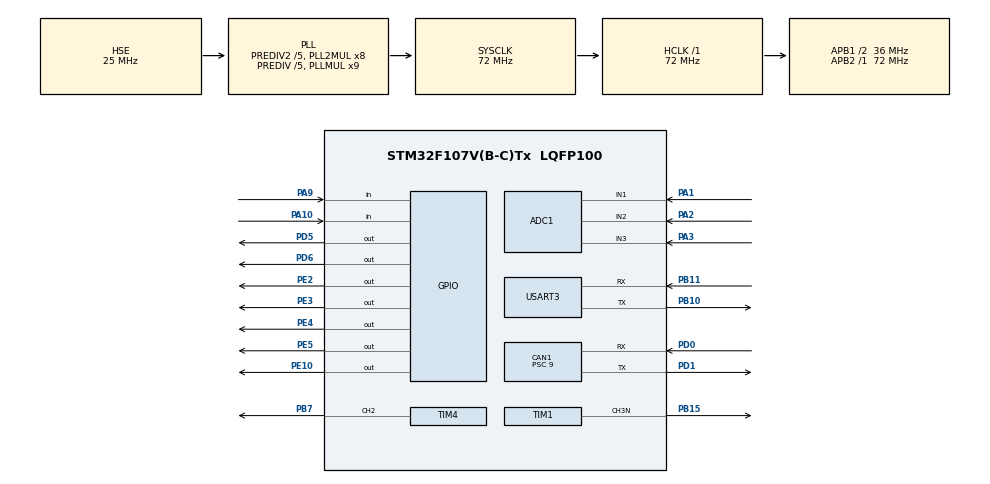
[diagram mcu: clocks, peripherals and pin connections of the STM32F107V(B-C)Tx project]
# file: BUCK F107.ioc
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Mcu.Family=STM32F1
NVIC.USART3_IRQn=true\:0\:0\:false\:false\:true\:true\:true
Dma.TIM2_UP.0.PeriphDataAlignment=DMA_PDATAALIGN_HALFWORD
NVIC.ADC1_2_IRQn=true\:0\:0\:false\:false\:true\:true\:true
VP_TIM5_VS_ClockSourceINT.Mode=Internal
NVIC.CAN1_RX1_IRQn=true\:0\:0\:false\:false\:true\:true\:true
Dma.TIM2_UP.0.Direction=DMA_MEMORY_TO_PERIPH
PB10.Mode=Asynchronous
ADC1.ContinuousConvMode=ENABLE
RCC.Prediv2=RCC_HSE_PREDIV2_DIV5
TIM4.OC4Preload=ENABLE
SH.ADCx_IN2.0=ADC1_IN2,IN2
NVIC.TIM1_UP_IRQn=true\:0\:0\:false\:false\:true\:true\:true
Dma.TIM1_CH3.1.PeriphDataAlignment=DMA_PDATAALIGN_WORD
PB11.Signal=USART3_RX
ADC1.SamplingTime-12\#ChannelRegularConversion=ADC_SAMPLETIME_1CYCLE_5
PB15.Signal=TIM1_CH3N
TIM4.TIM_MasterOutputTrigger=TIM_TRGO_UPDATE
RCC.SYSCLKSource=RCC_SYSCLKSOURCE_PLLCLK
ProjectManager.StackSize=0x400
VP_TIM1_VS_no_output1.Mode=Output Compare1 No Output
Dma.TIM2_UP.0.MemInc=DMA_MINC_ENABLE
Dma.TIM2_UP.0.MemDataAlignment=DMA_MDATAALIGN_HALFWORD
Dma.TIM1_CH3.1.Instance=DMA1_Channel6
Dma.TIM2_UP.0.Mode=DMA_CIRCULAR
TIM1.Prescaler=0
NVIC.CAN1_TX_IRQn=true\:0\:0\:false\:false\:true\:true\:true
RCC.HCLKFreq_Value=72000000
SH.ADCx_IN3.0=ADC1_IN3,IN3
RCC.APB2TimFreq_Value=72000000
ADC1.InjNumberOfConversion=3
Dma.TIM1_CH3.1.Mode=DMA_CIRCULAR
PD0.Signal=CAN1_RX
TIM1.OC1Preload=ENABLE
PE5.Signal=GPIO_Output
OSC_OUT.Mode=HSE-External-Oscillator
OSC_OUT.Signal=RCC_OSC_OUT
RCC.AHBFreq_Value=72000000
ADC1.ExternalTrigInjecConv=ADC_INJECTED_SOFTWARE_START
RCC.HSE_VALUE=25000000
Dma.TIM2_UP.0.Priority=DMA_PRIORITY_LOW
PB3.Mode=JTAG_4_pins
PA15.Mode=JTAG_4_pins
RCC.PLLMUL=RCC_PLL_MUL9
Dma.ADC1.2.MemDataAlignment=DMA_MDATAALIGN_WORD
PC14-OSC32_IN.Mode=LSE-External-Oscillator
PA14.Mode=JTAG_4_pins
NVIC.TIM2_IRQn=true\:0\:0\:false\:false\:true\:true\:true
Dma.ADC1.2.Direction=DMA_PERIPH_TO_MEMORY
SH.S_TIM4_CH2.0=TIM4_CH2,PWM Generation2 CH2
PE2.Signal=GPIO_Output
PB7.Signal=S_TIM4_CH2
TIM4.Period=35000
PE10.Signal=GPIO_Output
PE4.Signal=GPIO_Output
VP_TIM1_VS_ClockSourceINT.Mode=Internal
RCC.Prediv1Source=RCC_PREDIV1_SOURCE_PLL2
CAN1.Prescaler=9
Mcu.Package=LQFP100
TIM2.Prescaler=35
ADC1.EnableInjectedConversion=DISABLE
TIM1.OCFastMode_PWM-PWM\ Generation3\ CH3N=TIM_OCFAST_DISABLE
ADC1.SamplingTime-13\#ChannelRegularConversion=ADC_SAMPLETIME_1CYCLE_5
PA10.Signal=GPIO_Input
PA15.Signal=SYS_JTDI
SH.ADCx_IN1.0=ADC1_IN1,IN1
Dma.Request2=ADC1
Dma.Request1=TIM1_CH3
RCC.APB1TimFreq_Value=72000000
Dma.TIM1_CH3.1.MemInc=DMA_MINC_ENABLE
TIM1.Period=35000
PD6.Signal=GPIO_Output
Dma.Request0=TIM2_UP
CAN1.CalculateTimeBit=4000.00
Dma.TIM1_CH3.1.PeriphInc=DMA_PINC_DISABLE
Dma.ADC1.2.Mode=DMA_NORMAL
CAN1.CalculateTimeQuantum=250.0
PA3.Signal=ADCx_IN3
RCC.PLLSourceVirtual=RCC_PLLSOURCE_HSE
PC15-OSC32_OUT.Mode=LSE-External-Oscillator
NVIC.DMA1_Channel6_IRQn=true\:0\:0\:false\:false\:true\:false\:true
Dma.ADC1.2.PeriphDataAlignment=DMA_PDATAALIGN_WORD
TIM1.Channel-Output\ Compare1\ No\ Output=TIM_CHANNEL_1
TIM1.OC3Preload_PWM=ENABLE
CAN1.CalculateBaudRate=250000
ADC1.DiscontinuousConvMode=DISABLE
TIM1.OCMode_1=TIM_OCMODE_ACTIVE
PD1.Signal=CAN1_TX
PD5.Signal=GPIO_Output
TIM4.TIM_MasterSlaveMode=TIM_MASTERSLAVEMODE_ENABLE
ADC1.Channel-13\#ChannelRegularConversion=ADC_CHANNEL_3
RCC.APB1CLKDivider=RCC_HCLK_DIV2
PC14-OSC32_IN.Signal=RCC_OSC32_IN
RCC.ADCPresc=RCC_ADCPCLK2_DIV6
PA13.Signal=SYS_JTMS-SWDIO
ADC1.Rank-13\#ChannelRegularConversion=3
Dma.ADC1.2.MemInc=DMA_MINC_ENABLE
CAN1.BS2=CAN_BS2_2TQ
PB11.Mode=Asynchronous
CAN1.BS1=CAN_BS1_13TQ
NVIC.DMA1_Channel2_IRQn=true\:0\:0\:false\:false\:true\:false\:true
ProjectManager.TargetToolchain=STM32CubeIDE
PA9.Signal=GPIO_Input
OSC_IN.Signal=RCC_OSC_IN
RCC.USBFreq_Value=48000000
TIM4.Prescaler=0
TIM1.Channel-PWM\ Generation3\ CH3N=TIM_CHANNEL_3
PC15-OSC32_OUT.Signal=RCC_OSC32_OUT
PA1.Signal=ADCx_IN1
PB10.Signal=USART3_TX
TIM1.Pulse-PWM\ Generation3\ CH3N=3500
VP_TIM4_VS_no_output4.Mode=Output Compare4 No Output
NVIC.TIM1_TRG_COM_IRQn=true\:0\:0\:false\:false\:true\:true\:true
board=custom
ADC1.Rank-12\#ChannelRegularConversion=2
TIM1.OCNIdleState_3=TIM_OCNIDLESTATE_SET
PB15.Mode=PWM Generation3 CH3N
PD1.Mode=CAN_Activate
ADC1.EnableAnalogWatchDog=false
TIM1.TIM_MasterOutputTrigger=TIM_TRGO_OC1REF
TIM4.Channel-PWM\ Generation2\ CH2=TIM_CHANNEL_2
ADC1.Channel-12\#ChannelRegularConversion=ADC_CHANNEL_2
RCC.APB2Freq_Value=72000000
TIM1.OCNPolarity_3=TIM_OCNPOLARITY_LOW
VP_TIM2_VS_ClockSourceINT.Mode=Internal
TIM2.Channel-PWM\ Generation3\ CH3=TIM_CHANNEL_3
Dma.TIM1_CH3.1.Priority=DMA_PRIORITY_LOW
TIM2.Period=100
ADC1.Rank-9\#ChannelRegularConversion=1
ADC1.NbrOfConversion=3
PA13.Mode=JTAG_4_pins
Mcu.Name=STM32F107V(B-C)Tx
PD0.Mode=CAN_Activate
PA2.Signal=ADCx_IN2
Dma.ADC1.2.Instance=DMA1_Channel1
ADC1.Channel-9\#ChannelRegularConversion=ADC_CHANNEL_1
ADC1.ExternalTrigConv=ADC_SOFTWARE_START
NVIC.TIM1_CC_IRQn=true\:0\:0\:false\:false\:true\:true\:true
PB3.Signal=SYS_JTDO
RCC.SYSCLKFreq_VALUE=72000000
Dma.ADC1.2.Priority=DMA_PRIORITY_LOW
ADC1.master=1
Dma.TIM2_UP.0.PeriphInc=DMA_PINC_DISABLE
Dma.ADC1.2.PeriphInc=DMA_PINC_DISABLE
TIM5.Prescaler=35
OSC_IN.Mode=HSE-External-Oscillator
USART3.VirtualMode=VM_ASYNC
RCC.HSEDivPLL=RCC_HSE_PREDIV_DIV5
PA14.Signal=SYS_JTCK-SWCLK
ProjectManager.HeapSize=0x200
VP_TIM4_VS_ClockSourceINT.Mode=Internal
NVIC.PriorityGroup=NVIC_PRIORITYGROUP_4
ADC1.NbrOfConversionFlag=1
ADC1.EnableRegularConversion=ENABLE
PE3.Signal=GPIO_Output
Dma.TIM1_CH3.1.MemDataAlignment=DMA_MDATAALIGN_WORD
ADC1.SamplingTime-9\#ChannelRegularConversion=ADC_SAMPLETIME_1CYCLE_5
NVIC.DMA1_Channel1_IRQn=true\:0\:0\:false\:false\:true\:false\:true
NVIC.TIM4_IRQn=true\:1\:0\:true\:false\:true\:true\:true
RCC.APB1Freq_Value=36000000
TIM4.Channel-Output\ Compare4\ No\ Output=TIM_CHANNEL_4
Dma.TIM1_CH3.1.Direction=DMA_MEMORY_TO_PERIPH
NVIC.CAN1_RX0_IRQn=true\:0\:0\:false\:false\:true\:true\:true
TIM1.TIM_MasterSlaveMode=TIM_MASTERSLAVEMODE_DISABLE
Dma.TIM2_UP.0.Instance=DMA1_Channel2

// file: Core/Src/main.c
/* USER CODE BEGIN Header */
/**
  ******************************************************************************
  * @file           : main.c
  * @brief          : Main program body
  ******************************************************************************
  * @attention
  *
  * <h2><center>&copy; Copyright (c) 2021 STMicroelectronics.
  * All rights reserved.</center></h2>
  *
  * This software component is licensed by ST under BSD 3-Clause license,
  * the "License"; You may not use this file except in compliance with the
  * License. You may obtain a copy of the License at:
  *                        opensource.org/licenses/BSD-3-Clause
  *
  ******************************************************************************
  */
/* USER CODE END Header */
#include "main.h"
#include "adc.h"
#include "can.h"
#include "dma.h"
#include "tim.h"
#include "usart.h"
#include "gpio.h"

/* USER CODE BEGIN Includes */
#include "BUCK_Application_Conf.h"
#include "DPC_Timeout.h"
#include "Buck_Control.h"

/* USER CODE END Includes */

/* USER CODE BEGIN PD */
#define LoWord(param) ((unsigned *)&param)[0]
#define HiWord(param) ((unsigned *)&param)[1]

#define Lowest(param) ((uint8_t *)&param)[0]
#define Lo(param) 	  ((uint8_t *)&param)[1]
#define Hi(param) 	  ((uint8_t *)&param)[2]
#define Highest(param)((uint8_t *)&param)[3]

#define LED_H2 GPIO_PIN_10
#define LED_H2_PORT GPIOE

#define LED_VD3 GPIO_PIN_2
#define LED_VD3_PORT GPIOE
/* USER CODE END PD */

/* USER CODE BEGIN PV */
BUCK_PWM_Source_Struct BUCK_PWM_SRC;
BUCK_OC_Source_Struct BUCK_OC_SRC;

PI_STRUCT_t pPI_VDC_CTRL;
PI_STRUCT_t pPI_VDC_CTRL_BURST;

CAN_Messages_Struct CAN_Messages;
uint8_t               TxData[8];
uint8_t               RxData[8];
uint32_t              TxMailbox;

TO_RET_STATE TO_State;
uint16_t StartUp;
volatile FlagStatus Calc_Start;

volatile float Service_Data[10][500];
uint32_t Service_step;
uint32_t Service_step2;
uint16_t j;
FlagStatus DMA_FLAG;
uint32_t ADC_Ch_Selected;

float PID_Result;
float PID_Result_V;
float PID_Result_I;
float PWM;
uint16_t Duty_To_Send;
uint16_t Tim_Counter;

uint32_t p_ADC1_Data[ADC1_CHs];                                 /*!< */

ADC_Conf_TypeDef ADC_Conf;
Cooked_ADC_Struct VDC_ADC_IN_PHY;

PID_Control_Struct PID_CONF_Burst;
PID_Control_Struct PID_CONF_StartUp;

//Option 1
PID_Control_Struct Current_PID_CONF;
PID_Control_Struct Voltage_PID_CONF;

//Option 2
PID_Control_Struct UDC_LIMIT_PID;
PID_Control_Struct IDC_LIMIT_PID;

extern RAW_ADC_Struct Raw_ADC;
extern RAW_ADC_Struct Raw_DMA;

/* USER CODE END PV */

void SystemClock_Config(void);
/* USER CODE BEGIN PFP */
void ADC_Config_Ch( uint32_t Channel);
/* USER CODE END PFP */

int main(void)
{

  /* MCU Configuration--------------------------------------------------------*/

  /* Reset of all peripherals, Initializes the Flash interface and the Systick. */
  HAL_Init();

  /* Configure the system clock */
  SystemClock_Config();

  /* Initialize all configured peripherals */
  MX_GPIO_Init();
  MX_DMA_Init();
  MX_CAN1_Init();
  MX_TIM4_Init();
  MX_TIM2_Init();
  MX_ADC1_Init();
  MX_TIM1_Init();
  MX_USART3_UART_Init();
  MX_TIM5_Init();
  /* USER CODE BEGIN 2 */

  HAL_ADCEx_Calibration_Start(&hadc1);
  HAL_Delay(500);
//  HAL_TIM_MspPostInit(&htim1);
//  HAL_TIM_MspPostInit(&htim2);
//  HAL_TIM_MspPostInit(&htim4);

  DPC_TO_Init();

  //Buck_PID_Init(&PID_CONF_StartUp, BUCK_PID_K_P,BUCK_PID_K_I,BUCK_PID_K_D, BUCK_Math_Frequency, BUCK_PID_W_F, BUCK_PID_SAT_UP_BURST, BUCK_PID_SAT_DOWN_BURST, BUCK_PID_HIST, BUCK_PID_BASE_VAL, BUCK_INT_SAT_UP, BUCK_INT_SAT_DOWN, BUCK_PID_ANTIWINDUP);

  Buck_PID_Init(&Voltage_PID_CONF, V_PID_K_P,V_PID_K_I,V_PID_K_D, BUCK_Math_Frequency, BUCK_PID_W_F, V_PID_SAT_UP, V_PID_SAT_DOWN, V_PID_HIST, V_PID_RESOLUTION,V_PID_INT_SAT_UP,V_PID_INT_SAT_DOWN, V_PID_ANTIWINDUP, V_PID_BASE_VAL);
  Buck_PID_Init(&Current_PID_CONF, I_PID_K_P,I_PID_K_I,I_PID_K_D, BUCK_Math_Frequency, BUCK_PID_W_F, I_PID_SAT_UP, I_PID_SAT_DOWN, I_PID_HIST, I_PID_RESOLUTION, I_PID_INT_SAT_UP, I_PID_INT_SAT_DOWN, I_PID_ANTIWINDUP, I_PID_BASE_VAL);

  Buck_PID_Init(&UDC_LIMIT_PID, V_LIM_PID_K_P,V_LIM_PID_K_I,V_LIM_PID_K_D, BUCK_Math_Frequency, V_LIM_PID_W_F, V_LIM_PID_SAT_UP, V_LIM_PID_SAT_DOWN, V_LIM_PID_HIST, V_LIM_PID_RESOLUTION, V_LIM_INT_SAT_UP, V_LIM_INT_SAT_DOWN, V_LIM_PID_ANTIWINDUP, V_LIM_PID_BASE_VAL);
  Buck_PID_Init(&IDC_LIMIT_PID, I_LIM_PID_K_P,I_LIM_PID_K_I,I_LIM_PID_K_D, BUCK_Math_Frequency, I_LIM_PID_W_F, I_LIM_PID_SAT_UP, I_LIM_PID_SAT_DOWN, I_LIM_PID_HIST, I_LIM_PID_RESOLUTION, I_LIM_INT_SAT_UP, I_LIM_INT_SAT_DOWN, I_LIM_PID_ANTIWINDUP, I_LIM_PID_BASE_VAL);

  Buck_PID_Init(&PID_CONF_StartUp, STUP_PID_K_P,STUP_PID_K_I,STUP_PID_K_D, BUCK_Math_Frequency, STUP_PID_W_F, STUP_PID_SAT_UP, STUP_PID_SAT_DOWN, STUP_PID_HIST, STUP_PID_RESOLUTION, STUP_INT_SAT_UP, STUP_INT_SAT_DOWN, STUP_PID_ANTIWINDUP, STUP_PID_BASE_VAL);

  DPC_PID_Init(&pPI_VDC_CTRL,DPC_VCTRL_KP,DPC_VCTRL_KI,DPC_PI_VDC_TS,DPC_VCTRL_PI_sat_up,DPC_VCTRL_PI_sat_down,DPC_VCTRL_PI_SAT_EN,DPC_VCTRL_PI_AW_EN,DPC_VCTRL_PI_AWTG);
  DPC_PID_Init(&pPI_VDC_CTRL_BURST,DPC_VCTRL_KP,DPC_VCTRL_KI,DPC_PI_VDC_TS,DPC_VCTRL_BURST_PI_sat_up,DPC_VCTRL_PI_sat_down,DPC_VCTRL_PI_SAT_EN,DPC_VCTRL_PI_AW_EN,DPC_VCTRL_PI_AWTG);

  Buck_Tim_PWM_Init(&BUCK_Tim1, BUCK_SW_Frequency);
  Buck_Tim_PWM_Init(&BUCK_Tim4, BUCK_SW_Frequency);
  Buck_Tim_Init(&BUCK_Tim2, BUCK_Math_Frequency);
  Buck_Tim_Init(&BUCK_Tim5, BUCK_TO_Timer_Frequency);

  BUCK_ADC_Init(&ADC_Conf,G_VAC,B_VAC,G_IAC,B_IAC,G_VDC,B_VDC,G_IDC,B_IDC);
  //CAN_Start_Setup();
  HAL_TIMEx_PWMN_Start_DMA(&BUCK_Tim1, BUCK_Tim1_PWM_CH, &BUCK_PWM_SRC.PWM_A, 1);

  HAL_TIM_Base_Start_IT(&htim1);
  HAL_TIM_Base_Start_IT(&htim5);
  HAL_TIM_Base_Start_IT(&htim2);
  HAL_TIM_Base_Start_IT(&htim4);
  HAL_TIM_OC_Start_IT(&htim1, TIM_CHANNEL_1);
  ADC_Ch_Selected=1;

  /* USER CODE END 2 */

  /* Infinite loop */
  while (1)
  {

    /* USER CODE BEGIN 3 */
	  if(Calc_Start==SET){
		  DATA_Processing();
		  ADC_MA_VAL_Collection();
		  ADC2Phy_VDC_ProcessData(&ADC_Conf,(RAW_ADC_Struct*)Read_Volt_DC(), &VDC_ADC_IN_PHY);
		  ADC2Phy_IDC_ProcessData(&ADC_Conf,(RAW_ADC_Struct*)Read_Volt_DC(), &VDC_ADC_IN_PHY);

		  	if (((float)VDC_ADC_IN_PHY.Vdc) > BUCK_VDC_REF_LOW_REF){
		  		StartUp=1;
		  	}
		  	else if (((float)VDC_ADC_IN_PHY.Vdc) < 20){
		  		StartUp=0;
		  		PID_CONF_StartUp.resetPI=SET;
		  	}
		  	//StartUp=1;

			if (StartUp==0){
				Voltage_PID_CONF.resetPI = SET;
				Current_PID_CONF.resetPI = SET;
				UDC_LIMIT_PID.resetPI = SET;
				IDC_LIMIT_PID.resetPI = SET;
				PID_Result_V = PID_Control(BUCK_VDC_REF, VDC_ADC_IN_PHY.Vdc, &PID_CONF_StartUp);
				PWM = PID_Result_V/BUCK_VAC_REF;
				IDC_LIMIT_PID.resetPI = SET;
				UDC_LIMIT_PID.resetPI = SET;
			}
			else if (StartUp==1){
				Voltage_PID_CONF.Antiwindup_Switch = SET;
				Current_PID_CONF.Antiwindup_Switch = RESET;
				//PID_Result_V = Buck_Control(&Voltage_PID_CONF,&Current_PID_CONF,BUCK_VDC_REF, (float)(VDC_ADC_IN_PHY.Vdc/* - PID_Result*/), VDC_ADC_IN_PHY.Idc);
				PID_Result_V = PID_Control(BUCK_VDC_REF, VDC_ADC_IN_PHY.Vdc, &UDC_LIMIT_PID);
				PID_Result_I = Current_Control(BUCK_IDC_LIM, VDC_ADC_IN_PHY.Idc, &IDC_LIMIT_PID);
				//PID_Result_I = BUCK_VAC_REF;

				if (PID_Result_V<=PID_Result_I){
					PWM = PID_Result_V/BUCK_VAC_REF;

				}
				else if (PID_Result_V>PID_Result_I){
					PWM = PID_Result_I/BUCK_VAC_REF;
					//UDC_LIMIT_PID.resetPI = SET;
				}

				//PWM = PID_Result_V/BUCK_VAC_REF;
				PID_CONF_StartUp.resetPI = SET;

				//PWM=0.7;
			}
			//PWM=0.8;
			BUCK_PWM_Processing(PWM, &BUCK_Tim1, &BUCK_PWM_SRC);

			if (VDC_ADC_IN_PHY.Vdc>=BUCK_VDC_OV){
				HAL_TIMEx_PWMN_Stop_DMA(&BUCK_Tim1, BUCK_Tim1_PWM_CH);
			}
			else if (VDC_ADC_IN_PHY.Vdc <= BUCK_VDC_REF_LOW_REF){
				HAL_TIMEx_PWMN_Start_DMA(&BUCK_Tim1, BUCK_Tim1_PWM_CH, &BUCK_PWM_SRC.PWM_A, 1);
			}

			Service_Data[0][Service_step] = (float)VDC_ADC_IN_PHY.Vdc;
			Service_Data[1][Service_step] = (float)VDC_ADC_IN_PHY.Idc;
			Service_Data[2][Service_step] = (float)(PID_Result_V);
			Service_Data[3][Service_step] = (float)(PID_Result_I);
	  		Service_Data[4][Service_step] = (float)(PID_Result_V);

//	  		Service_Data[4][Service_step] = (float)(PID_CONF.Ud_previous*100);
			//Service_Data[1][Service_step] = (float)VDC_ADC_IN_PHY.Idc;

			if (Service_step==499){
	  //			HAL_TIM_PWM_Stop_DMA(&BUCK_Tim4, BUCK_Tim4_PWM_CH);
				Service_step=0;
				Service_step2--;

			}
			else {
					Service_step++;
		//			HAL_TIMEx_PWMN_Start_DMA(&BUCK_Tim1, BUCK_Tim1_PWM_CH, &BUCK_PWM_SRC.PWM_A, 1);
					}
			Calc_Start = RESET;
			//HAL_ADC_Start_DMA(&BUCK_ADC1, p_ADC1_Data, ADC1_MA_PERIOD_RAW*ADC1_CHs);
	  }
	  //HAL_ADC_Start_DMA(&BUCK_ADC1, p_ADC1_Data, ADC1_CHs);

//	TO_State=DPC_TO_Check(RELAY_TO_CH);
//	if (TO_State==TO_OUT_TOOK){
//	  HAL_GPIO_TogglePin(LED_H2_PORT, LED_H2);
//	}
//	else if (TO_State==TO_OUT_OK){
//
//	}
//	else{
//	  DPC_TO_Set(RELAY_TO_CH, RELAY_TIMEOUT);
//	}
//
  }
  /* USER CODE END 3 */
}

void SystemClock_Config(void)
{
  RCC_OscInitTypeDef RCC_OscInitStruct = {0};
  RCC_ClkInitTypeDef RCC_ClkInitStruct = {0};
  RCC_PeriphCLKInitTypeDef PeriphClkInit = {0};

  /** Initializes the RCC Oscillators according to the specified parameters
  * in the RCC_OscInitTypeDef structure.
  */
  RCC_OscInitStruct.OscillatorType = RCC_OSCILLATORTYPE_HSE;
  RCC_OscInitStruct.HSEState = RCC_HSE_ON;
  RCC_OscInitStruct.HSEPredivValue = RCC_HSE_PREDIV_DIV5;
  RCC_OscInitStruct.HSIState = RCC_HSI_ON;
  RCC_OscInitStruct.Prediv1Source = RCC_PREDIV1_SOURCE_PLL2;
  RCC_OscInitStruct.PLL.PLLState = RCC_PLL_ON;
  RCC_OscInitStruct.PLL.PLLSource = RCC_PLLSOURCE_HSE;
  RCC_OscInitStruct.PLL.PLLMUL = RCC_PLL_MUL9;
  RCC_OscInitStruct.PLL2.PLL2State = RCC_PLL2_ON;
  RCC_OscInitStruct.PLL2.PLL2MUL = RCC_PLL2_MUL8;
  RCC_OscInitStruct.PLL2.HSEPrediv2Value = RCC_HSE_PREDIV2_DIV5;
  if (HAL_RCC_OscConfig(&RCC_OscInitStruct) != HAL_OK)
  {
    Error_Handler();
  }
  /** Initializes the CPU, AHB and APB buses clocks
  */
  RCC_ClkInitStruct.ClockType = RCC_CLOCKTYPE_HCLK|RCC_CLOCKTYPE_SYSCLK
                              |RCC_CLOCKTYPE_PCLK1|RCC_CLOCKTYPE_PCLK2;
  RCC_ClkInitStruct.SYSCLKSource = RCC_SYSCLKSOURCE_PLLCLK;
  RCC_ClkInitStruct.AHBCLKDivider = RCC_SYSCLK_DIV1;
  RCC_ClkInitStruct.APB1CLKDivider = RCC_HCLK_DIV2;
  RCC_ClkInitStruct.APB2CLKDivider = RCC_HCLK_DIV1;

  if (HAL_RCC_ClockConfig(&RCC_ClkInitStruct, FLASH_LATENCY_2) != HAL_OK)
  {
    Error_Handler();
  }
  PeriphClkInit.PeriphClockSelection = RCC_PERIPHCLK_ADC;
  PeriphClkInit.AdcClockSelection = RCC_ADCPCLK2_DIV6;
  if (HAL_RCCEx_PeriphCLKConfig(&PeriphClkInit) != HAL_OK)
  {
    Error_Handler();
  }
  /** Configure the Systick interrupt time
  */
  __HAL_RCC_PLLI2S_ENABLE();
}

/* USER CODE BEGIN 4 */

void HAL_TIM_PeriodElapsedCallback(TIM_HandleTypeDef *htim){
	if (htim ->Instance == TIM2){

		Calc_Start = SET;
		DMA_FLAG = SET;
//		HAL_TIM_OC_Start_IT(&htim1, TIM_CHANNEL_1);
		//HAL_ADC_Start_IT(&BUCK_ADC1);
	}
	else if (htim ->Instance == TIM5){
		TimeoutMng();

//		TO_State=DPC_TO_Check(1);
//		if (TO_State==TO_OUT_TOOK){
//			TxHeader.StdId = 0x321;
//			TxHeader.ExtId = 0x01;
//			TxHeader.RTR = CAN_RTR_DATA;
//			TxHeader.IDE = CAN_ID_STD;
//			TxHeader.DLC = 8;
//			TxHeader.TransmitGlobalTime = DISABLE;
//			Duty_To_Send = (uint16_t)(PID_Result*100);
//
//			TxData[0] = Lo(Duty_To_Send);
//			TxData[1] = Lowest(Duty_To_Send);
//
//			TxData[2] = Lo(VDC_ADC_IN_PHY.Vdc);
//			TxData[3] = Lowest(VDC_ADC_IN_PHY.Vdc);
//
//			TxMailbox = 1;
//			if (HAL_CAN_AddTxMessage(&hcan1, &TxHeader, TxData, &TxMailbox) != HAL_OK)
//			{
//				Error_Handler();
//			}
//			DPC_TO_Set(1, 100);
//
//		}
//		else if (TO_State==TO_OUT_OK){
//
//		}
//		else{
//			DPC_TO_Set(1, 100);
//		}
	}
	else if (htim ->Instance == TIM1){
		HAL_TIM_OC_Start_IT(&htim1, TIM_CHANNEL_1);
	}

}

//void HAL_CAN_TxCpltCallback(CAN_HandleTypeDef* CanHandle){
//
//	if(CanHandle->Instance == CAN1){
//
//	}
//}

//void HAL_CAN_RxFifo0MsgPendingCallback(CAN_HandleTypeDef *CanHandle)
//{
//
//  if ((RxHeader.StdId == 0x321) && (RxHeader.IDE == CAN_ID_STD) && (RxHeader.DLC == 8))
//  {
//
//  }
//}

void HAL_ADC_ConvCpltCallback(ADC_HandleTypeDef* hadc){
	HAL_ADC_Stop_DMA(&BUCK_ADC1);
	//HAL_ADC_Stop_IT(&BUCK_ADC1);
	//HAL_GPIO_TogglePin(LED_VD3_PORT, LED_VD3);
	HAL_GPIO_WritePin(LED_VD3_PORT, LED_VD3, 0);
	DATA_Acquisition_from_DMA(p_ADC1_Data);
//	if (ADC_Ch_Selected==1){
//		//HAL_GPIO_WritePin(LED_VD3_PORT, LED_VD3, 0);
//		p_ADC1_Data[ADC_Ch_Selected] = HAL_ADC_GetValue(&BUCK_ADC1);
//		ADC_Config_Ch(ADC_CHANNEL_2);
//		ADC_Ch_Selected = 2;
//		HAL_ADC_Start_IT(&BUCK_ADC1);
//	}
//	else if (ADC_Ch_Selected==2) {
//		//HAL_GPIO_WritePin(LED_VD3_PORT, LED_VD3, 1);
//		p_ADC1_Data[ADC_Ch_Selected] = HAL_ADC_GetValue(&BUCK_ADC1);
//		ADC_Config_Ch(ADC_CHANNEL_3);
//		ADC_Ch_Selected = 3;
//		HAL_ADC_Start_IT(&BUCK_ADC1);
//	}
//	else if (ADC_Ch_Selected==3) {
//		ADC_Ch_Selected = 1;
//		HAL_GPIO_WritePin(LED_VD3_PORT, LED_VD3, 0);
//		p_ADC1_Data[ADC_Ch_Selected] = HAL_ADC_GetValue(&BUCK_ADC1);
//	}

	//HAL_ADC_Start_DMA(&BUCK_ADC1, p_ADC1_Data, ADC1_MA_PERIOD_RAW*ADC1_CHs);
	//HAL_ADC_Stop_DMA(&BUCK_ADC1);
}

void HAL_TIM_OC_DelayElapsedCallback(TIM_HandleTypeDef *htim){
	if (htim->Channel == HAL_TIM_ACTIVE_CHANNEL_1){
		HAL_TIM_OC_Stop_IT(&htim1, TIM_CHANNEL_1);
		//HAL_GPIO_TogglePin(LED_VD3_PORT, LED_VD3);
		HAL_GPIO_WritePin(LED_VD3_PORT, LED_VD3, 1);
		HAL_ADC_Start_DMA(&BUCK_ADC1, p_ADC1_Data, ADC1_MA_PERIOD_RAW*ADC1_CHs);
	}
}

void ADC_Config_Ch( uint32_t Channel){

	ADC_ChannelConfTypeDef sConfig = {0};

	sConfig.Channel = Channel;
	sConfig.Rank = ADC_REGULAR_RANK_1;
	sConfig.SamplingTime = ADC_SAMPLETIME_1CYCLE_5;
	if (HAL_ADC_ConfigChannel(&hadc1, &sConfig) != HAL_OK)
	{
	Error_Handler();
	}
}

//void HAL_TIM_IC_CaptureCallback(TIM_HandleTypeDef *htim){
//	if (htim->Channel == HAL_TIM_ACTIVE_CHANNEL_1){
//		HAL_GPIO_TogglePin(LED_VD3_PORT, LED_VD3);
//	}
//}

/* USER CODE END 4 */

void Error_Handler(void)
{
  /* USER CODE BEGIN Error_Handler_Debug */
  /* User can add his own implementation to report the HAL error return state */
  //__disable_irq();
  HAL_GPIO_WritePin(LED_H2_PORT, LED_H2,1);
  HAL_TIMEx_PWMN_Stop_DMA(&BUCK_Tim1, BUCK_Tim1_PWM_CH);
  while (1)
  {
  }
  /* USER CODE END Error_Handler_Debug */
}

/************************ (C) COPYRIGHT STMicroelectronics *****END OF FILE****/
